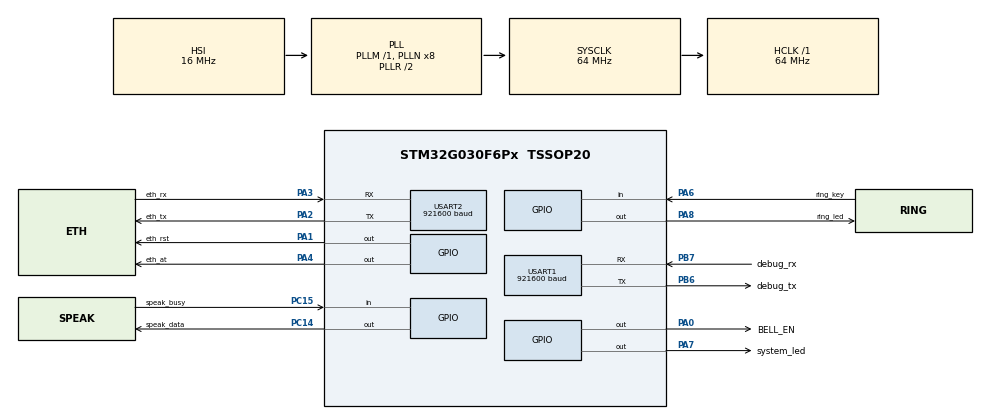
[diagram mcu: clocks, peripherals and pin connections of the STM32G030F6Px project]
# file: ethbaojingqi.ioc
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Dma.Request0=USART2_RX
Dma.USART2_RX.0.Direction=DMA_PERIPH_TO_MEMORY
Dma.USART2_RX.0.EventEnable=DISABLE
Dma.USART2_RX.0.Instance=DMA1_Channel1
Dma.USART2_RX.0.MemDataAlignment=DMA_MDATAALIGN_BYTE
Dma.USART2_RX.0.MemInc=DMA_MINC_ENABLE
Dma.USART2_RX.0.Mode=DMA_NORMAL
Dma.USART2_RX.0.PeriphDataAlignment=DMA_PDATAALIGN_BYTE
Dma.USART2_RX.0.PeriphInc=DMA_PINC_DISABLE
Dma.USART2_RX.0.Polarity=HAL_DMAMUX_REQ_GEN_RISING
Dma.USART2_RX.0.Priority=DMA_PRIORITY_LOW
Dma.USART2_RX.0.RequestNumber=1
Dma.USART2_RX.0.SignalID=NONE
Dma.USART2_RX.0.SyncEnable=DISABLE
Dma.USART2_RX.0.SyncPolarity=HAL_DMAMUX_SYNC_NO_EVENT
Dma.USART2_RX.0.SyncRequestNumber=1
Dma.USART2_RX.0.SyncSignalID=NONE
Mcu.Family=STM32G0
Mcu.Name=STM32G030F6Px
Mcu.Package=TSSOP20
NVIC.DMA1_Channel1_IRQn=true\:0\:0\:false\:true\:true\:2\:false\:true
NVIC.TIM3_IRQn=true\:0\:0\:false\:false\:true\:false\:true
NVIC.TimeBase=TIM3_IRQn
NVIC.TimeBaseIP=TIM3
NVIC.USART2_IRQn=true\:0\:0\:false\:true\:true\:1\:true\:true
PA0.GPIO_Label=BELL_EN
PA0.PinState=GPIO_PIN_RESET
PA0.Signal=GPIO_Output
PA1.GPIO_Label=eth_rst
PA1.PinState=GPIO_PIN_SET
PA1.Signal=GPIO_Output
PA13.Mode=Serial_Wire
PA13.Signal=SYS_SWDIO
PA14-BOOT0.Mode=Serial_Wire
PA14-BOOT0.Signal=SYS_SWCLK
PA2.GPIO_Label=eth_tx
PA2.Mode=Asynchronous
PA2.Signal=USART2_TX
PA3.GPIO_Label=eth_rx
PA3.Mode=Asynchronous
PA3.Signal=USART2_RX
PA4.GPIO_Label=eth_at
PA4.PinState=GPIO_PIN_SET
PA4.Signal=GPIO_Output
PA6.GPIO_Label=ring_key
PA6.Signal=GPIO_Input
PA7.GPIO_Label=system_led
PA7.Signal=GPIO_Output
PA8.GPIO_Label=ring_led
PA8.Signal=GPIO_Output
PB6.GPIO_Label=debug_tx
PB6.Mode=Asynchronous
PB6.Signal=USART1_TX
PB7.GPIO_Label=debug_rx
PB7.Mode=Asynchronous
PB7.Signal=USART1_RX
PC14-OSC32_IN\ (PC14).GPIO_Label=speak_data
PC14-OSC32_IN\ (PC14).Signal=GPIO_Output
PC15-OSC32_OUT\ (PC15).GPIO_Label=speak_busy
PC15-OSC32_OUT\ (PC15).Signal=GPIO_Input
ProjectManager.HeapSize=0x200
ProjectManager.StackSize=0x400
ProjectManager.TargetToolchain=MDK-ARM V5.27
RCC.ADCFreq_Value=64000000
RCC.AHBFreq_Value=64000000
RCC.CortexFreq_Value=64000000
RCC.EXTERNAL_CLOCK_VALUE=12288000
RCC.HCLKFreq_Value=64000000
RCC.HSE_VALUE=8000000
RCC.HSI_VALUE=16000000
RCC.LSE_VALUE=32768
RCC.SYSCLKFreq_VALUE=64000000
RCC.SYSCLKSource=RCC_SYSCLKSOURCE_PLLCLK
RCC.VCOOutputFreq_Value=128000000
USART1.BaudRate=921600
USART1.VirtualMode-Asynchronous=VM_ASYNC
USART2.BaudRate=921600
USART2.VirtualMode-Asynchronous=VM_ASYNC
VP_SYS_VS_tim3.Mode=TIM3
board=custom

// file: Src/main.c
/* USER CODE BEGIN Header */
/**
  ******************************************************************************
  * @file           : main.c
  * @brief          : Main program body
  ******************************************************************************
  * @attention
  *
  * <h2><center>&copy; Copyright (c) 2021 STMicroelectronics.
  * All rights reserved.</center></h2>
  *
  * This software component is licensed by ST under BSD 3-Clause license,
  * the "License"; You may not use this file except in compliance with the
  * License. You may obtain a copy of the License at:
  *                        opensource.org/licenses/BSD-3-Clause
  *
  ******************************************************************************
  */
/* USER CODE END Header */

#include "main.h"
#include "dma.h"
#include "usart.h"
#include "gpio.h"

/* USER CODE BEGIN Includes */
#include "stdio.h"
#include "ether_hal.h"
#include "main_app.h"
/* USER CODE END Includes */

/* USER CODE BEGIN PTD */
#define xintiaotim      10000
 extern uint8_t runing_flag;
 extern uint32_t runing_count;
/* USER CODE END PTD */

void SystemClock_Config(void);
static void MX_NVIC_Init(void);

int main(void)
{

  /* MCU Configuration--------------------------------------------------------*/

  /* Reset of all peripherals, Initializes the Flash interface and the Systick. */
  HAL_Init();

  /* Configure the system clock */
  SystemClock_Config();

  /* Initialize all configured peripherals */
  MX_GPIO_Init();
  MX_DMA_Init();
  MX_USART1_UART_Init();
  MX_USART2_UART_Init();

  /* Initialize interrupts */
  MX_NVIC_Init();
  /* USER CODE BEGIN 2 */

	 ETH_Rst();

//   eth_at_open();
	   printf("一键启动报警\r\n");
		 /*关闭代码对设备进行IP配置*/
//   	 while(eth_init()!=1);
  	 HAL_Delay(1000);
	   HAL_Delay(1000);
		 HAL_Delay(1000);
		 HAL_Delay(1000);
		 HAL_Delay(1000);
		//  test_flash();
     Param_Init();
	   ETH_DMA_START();
		 Init_Dev_Param();//设置SN码和退出工厂模式
////	  init_dev_eth();   //配置设备IP地址
   while( eth_ring_net_in()!=1)   //接入服务器
	 {

	 }
      runing_flag=1;
	   printf("入网成功\r\n");
  /* USER CODE END 2 */

  /* Infinite loop */
  while (1)
  {

    /* USER CODE BEGIN 3 */
//		HAL_GPIO_TogglePin(GPIOA, system_led_Pin
//                          );
////		   Line_1A_WT588S(11);//消警成功
//		 HAL_Delay(1000);

   		run_system_task();

  }
  /* USER CODE END 3 */
}

void SystemClock_Config(void)
{
  RCC_OscInitTypeDef RCC_OscInitStruct = {0};
  RCC_ClkInitTypeDef RCC_ClkInitStruct = {0};
  RCC_PeriphCLKInitTypeDef PeriphClkInit = {0};

  /** Configure the main internal regulator output voltage
  */
  HAL_PWREx_ControlVoltageScaling(PWR_REGULATOR_VOLTAGE_SCALE1);
  /** Initializes the CPU, AHB and APB busses clocks
  */
  RCC_OscInitStruct.OscillatorType = RCC_OSCILLATORTYPE_HSI;
  RCC_OscInitStruct.HSIState = RCC_HSI_ON;
  RCC_OscInitStruct.HSIDiv = RCC_HSI_DIV1;
  RCC_OscInitStruct.HSICalibrationValue = RCC_HSICALIBRATION_DEFAULT;
  RCC_OscInitStruct.PLL.PLLState = RCC_PLL_ON;
  RCC_OscInitStruct.PLL.PLLSource = RCC_PLLSOURCE_HSI;
  RCC_OscInitStruct.PLL.PLLM = RCC_PLLM_DIV1;
  RCC_OscInitStruct.PLL.PLLN = 8;
  RCC_OscInitStruct.PLL.PLLP = RCC_PLLP_DIV2;
  RCC_OscInitStruct.PLL.PLLR = RCC_PLLR_DIV2;
  if (HAL_RCC_OscConfig(&RCC_OscInitStruct) != HAL_OK)
  {
    Error_Handler();
  }
  /** Initializes the CPU, AHB and APB busses clocks
  */
  RCC_ClkInitStruct.ClockType = RCC_CLOCKTYPE_HCLK|RCC_CLOCKTYPE_SYSCLK
                              |RCC_CLOCKTYPE_PCLK1;
  RCC_ClkInitStruct.SYSCLKSource = RCC_SYSCLKSOURCE_PLLCLK;
  RCC_ClkInitStruct.AHBCLKDivider = RCC_SYSCLK_DIV1;
  RCC_ClkInitStruct.APB1CLKDivider = RCC_HCLK_DIV1;

  if (HAL_RCC_ClockConfig(&RCC_ClkInitStruct, FLASH_LATENCY_2) != HAL_OK)
  {
    Error_Handler();
  }
  /** Initializes the peripherals clocks
  */
  PeriphClkInit.PeriphClockSelection = RCC_PERIPHCLK_USART1;
  PeriphClkInit.Usart1ClockSelection = RCC_USART1CLKSOURCE_PCLK1;
  if (HAL_RCCEx_PeriphCLKConfig(&PeriphClkInit) != HAL_OK)
  {
    Error_Handler();
  }
}

/**
  * @brief NVIC Configuration.
  * @retval None
  */
static void MX_NVIC_Init(void)
{
  /* USART2_IRQn interrupt configuration */
  HAL_NVIC_SetPriority(USART2_IRQn, 0, 0);
  HAL_NVIC_EnableIRQ(USART2_IRQn);
  /* DMA1_Channel1_IRQn interrupt configuration */
  HAL_NVIC_SetPriority(DMA1_Channel1_IRQn, 1, 0);
  HAL_NVIC_EnableIRQ(DMA1_Channel1_IRQn);
}

/* USER CODE BEGIN 4 */
extern uint8_t eth_ack_flag;
 uint32_t eth_ack_count=0;
/* USER CODE END 4 */

 /**
  * @brief  Period elapsed callback in non blocking mode
  * @note   This function is called  when TIM3 interrupt took place, inside
  * HAL_TIM_IRQHandler(). It makes a direct call to HAL_IncTick() to increment
  * a global variable "uwTick" used as application time base.
  * @param  htim : TIM handle
  * @retval None
  */
void HAL_TIM_PeriodElapsedCallback(TIM_HandleTypeDef *htim)
{
  if (htim->Instance == TIM3) {
    HAL_IncTick();
  }
  /* USER CODE BEGIN Callback 1 */
 	if(eth_ack_flag==1)
	{
		eth_ack_count++;
		if(eth_ack_count>10000)
		{
			eth_ack_flag=2;
			eth_ack_count=0;
		}

	}
	else
	{
		eth_ack_count=0;

	}
	if( runing_flag==1)
	{
	   	runing_count++;
		 if(runing_count>xintiaotim)
		 {
			HAL_GPIO_TogglePin(GPIOA, system_led_Pin);
			 runing_count=0;
			 runing_flag=2;
		 }

	}
  /* USER CODE END Callback 1 */
}

void Error_Handler(void)
{
}

/************************ (C) COPYRIGHT STMicroelectronics *****END OF FILE****/
